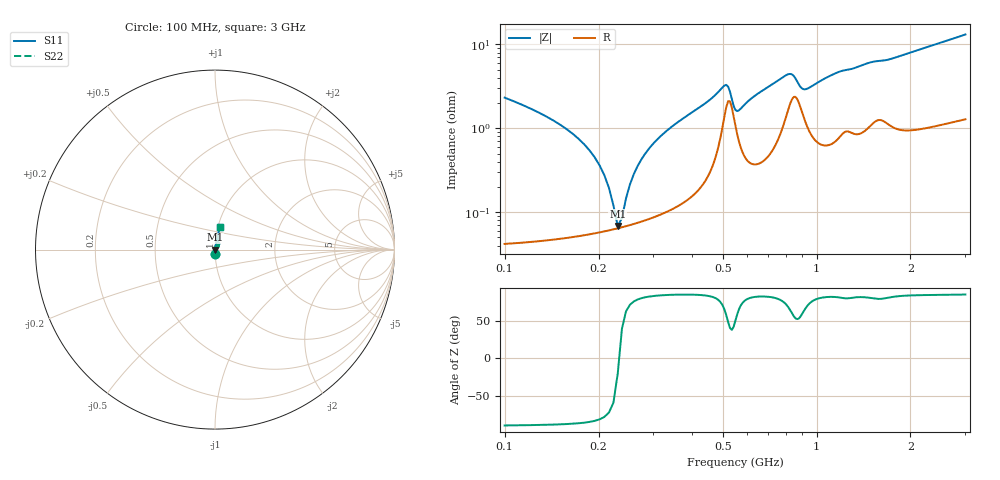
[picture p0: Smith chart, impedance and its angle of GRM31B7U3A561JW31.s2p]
!Murata Part Number: GRM31B7U3A561JW31
!These Parameters are Measured in Series Mode Connection
!Data Generated on Mar 30, 2021
!  o--ll--o
!Port1  Port2
!  o------o
!Operation Temp=25[degC], DC Bias Voltage=0[V]
!Freq. Start=100[MHz] Stop=3[GHz] 401[Steps]
# Hz S RI R 50
!Freq.(Hz) S11(Real) S11(Imag) S21(Real) S21(Imag) S12(Real) S12(Imag) S22(Real) S22(Imag)
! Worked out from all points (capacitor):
!   401 points, 100 MHz to 3 GHz, reference 50 ohm
!   read as one part in series: C = 557 pF near 114.5 MHz
!   lowest |Z| = 68.4 mohm at 230.5 MHz (marker M1)
!   series resonance near 232.7 MHz, so ESL is about 840 pH
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1e8  0.000958 -0.0232  0.999 0.0232  0.999 0.0232  0.000958 -0.0232
1.435e8  0.000624 -0.0124  0.9994 0.0124  0.9994 0.0124  0.000624 -0.0124
1.7975e8  0.000572 -0.00645  0.9994 0.00645  0.9994 0.00645  0.000572 -0.00645
2.015e8  0.000587 -0.00358  0.9994 0.00358  0.9994 0.00358  0.000587 -0.00358
2.2325e8  0.000625 -0.00103  0.9994 0.00103  0.9994 0.00103  0.000625 -0.00103
2.305e8  0.000642 -0.000236  0.9994 0.000236  0.9994 0.000236  0.000642 -0.000236
2.45e8  0.000682 0.00129  0.9993 -0.00129  0.9993 -0.00129  0.000682 0.00129
2.595e8  0.000731 0.00275  0.9993 -0.00275  0.9993 -0.00275  0.000731 0.00275
2.8125e8  0.000819 0.00483  0.9992 -0.00483  0.9992 -0.00483  0.000819 0.00483
3.1025e8  0.000965 0.00746  0.999 -0.00746  0.999 -0.00746  0.000965 0.00746
3.5375e8  0.00127 0.0113  0.9987 -0.0113  0.9987 -0.0113  0.00127 0.0113
5.06e8  0.0142 0.0285  0.9858 -0.0285  0.9858 -0.0285  0.0142 0.0285
5.5675e8  0.00859 0.0134  0.9914 -0.0134  0.9914 -0.0134  0.00859 0.0134
5.8575e8  0.00503 0.0182  0.995 -0.0182  0.995 -0.0182  0.00503 0.0182
8.0325e8  0.0162 0.0397  0.9838 -0.0397  0.9838 -0.0397  0.0162 0.0397
8.395e8  0.0238 0.0348  0.9762 -0.0348  0.9762 -0.0348  0.0238 0.0348
9.12e8  0.0137 0.0254  0.9863 -0.0254  0.9863 -0.0254  0.0137 0.0254
1.0715e9  0.00773 0.0389  0.9923 -0.0389  0.9923 -0.0389  0.00773 0.0389
1.55e9  0.0157 0.0602  0.9843 -0.0602  0.9843 -0.0602  0.0157 0.0602
2.03575e9  0.0158 0.0795  0.9842 -0.0795  0.9842 -0.0795  0.0158 0.0795
2.5215e9  0.0216 0.1022  0.9784 -0.1022  0.9784 -0.1022  0.0216 0.1022
3e9  0.0289 0.1257  0.9711 -0.1257  0.9711 -0.1257  0.0289 0.1257
